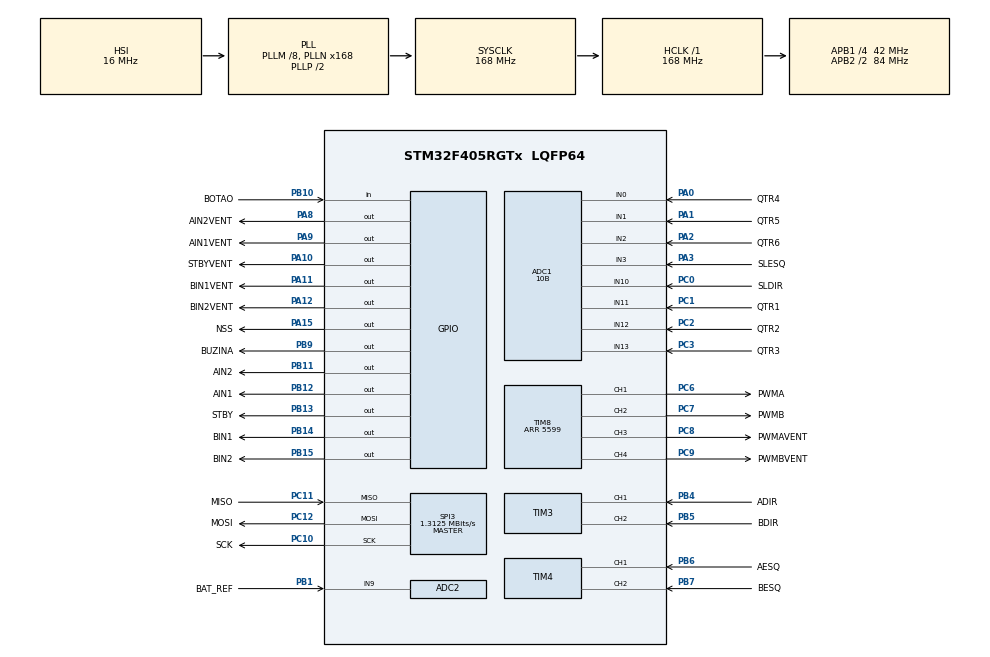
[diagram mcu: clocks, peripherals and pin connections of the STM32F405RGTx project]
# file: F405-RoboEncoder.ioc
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ADC1.Channel-0\#ChannelRegularConversion=ADC_CHANNEL_10
ADC1.Channel-1\#ChannelRegularConversion=ADC_CHANNEL_11
ADC1.Channel-2\#ChannelRegularConversion=ADC_CHANNEL_12
ADC1.Channel-3\#ChannelRegularConversion=ADC_CHANNEL_13
ADC1.Channel-4\#ChannelRegularConversion=ADC_CHANNEL_0
ADC1.Channel-5\#ChannelRegularConversion=ADC_CHANNEL_1
ADC1.Channel-6\#ChannelRegularConversion=ADC_CHANNEL_2
ADC1.Channel-7\#ChannelRegularConversion=ADC_CHANNEL_3
ADC1.ContinuousConvMode=ENABLE
ADC1.DMAContinuousRequests=ENABLE
ADC1.NbrOfConversion=8
ADC1.NbrOfConversionFlag=1
ADC1.Rank-0\#ChannelRegularConversion=1
ADC1.Rank-1\#ChannelRegularConversion=2
ADC1.Rank-2\#ChannelRegularConversion=3
ADC1.Rank-3\#ChannelRegularConversion=4
ADC1.Rank-4\#ChannelRegularConversion=5
ADC1.Rank-5\#ChannelRegularConversion=6
ADC1.Rank-6\#ChannelRegularConversion=7
ADC1.Rank-7\#ChannelRegularConversion=8
ADC1.Resolution=ADC_RESOLUTION_10B
ADC1.SamplingTime-0\#ChannelRegularConversion=ADC_SAMPLETIME_15CYCLES
ADC1.SamplingTime-1\#ChannelRegularConversion=ADC_SAMPLETIME_15CYCLES
ADC1.SamplingTime-2\#ChannelRegularConversion=ADC_SAMPLETIME_15CYCLES
ADC1.SamplingTime-3\#ChannelRegularConversion=ADC_SAMPLETIME_15CYCLES
ADC1.SamplingTime-4\#ChannelRegularConversion=ADC_SAMPLETIME_15CYCLES
ADC1.SamplingTime-5\#ChannelRegularConversion=ADC_SAMPLETIME_15CYCLES
ADC1.SamplingTime-6\#ChannelRegularConversion=ADC_SAMPLETIME_15CYCLES
ADC1.SamplingTime-7\#ChannelRegularConversion=ADC_SAMPLETIME_15CYCLES
ADC1.ScanConvMode=ENABLE
ADC1.master=1
ADC2.Channel-0\#ChannelRegularConversion=ADC_CHANNEL_9
ADC2.ContinuousConvMode=ENABLE
ADC2.NbrOfConversionFlag=1
ADC2.Rank-0\#ChannelRegularConversion=1
ADC2.Resolution=ADC_RESOLUTION_10B
ADC2.SamplingTime-0\#ChannelRegularConversion=ADC_SAMPLETIME_3CYCLES
ADC2.ScanConvMode=ENABLE
Dma.ADC1.0.Direction=DMA_PERIPH_TO_MEMORY
Dma.ADC1.0.FIFOMode=DMA_FIFOMODE_DISABLE
Dma.ADC1.0.Instance=DMA2_Stream0
Dma.ADC1.0.MemDataAlignment=DMA_MDATAALIGN_HALFWORD
Dma.ADC1.0.MemInc=DMA_MINC_ENABLE
Dma.ADC1.0.Mode=DMA_CIRCULAR
Dma.ADC1.0.PeriphDataAlignment=DMA_PDATAALIGN_HALFWORD
Dma.ADC1.0.PeriphInc=DMA_PINC_DISABLE
Dma.ADC1.0.Priority=DMA_PRIORITY_LOW
Dma.Request0=ADC1
Mcu.Family=STM32F4
Mcu.Name=STM32F405RGTx
Mcu.Package=LQFP64
NVIC.DMA2_Stream0_IRQn=true\:0\:0\:false\:false\:true\:false\:true\:true
NVIC.PriorityGroup=NVIC_PRIORITYGROUP_4
NVIC.TIM6_DAC_IRQn=true\:0\:0\:false\:false\:true\:true\:true\:true
PA0-WKUP.GPIO_Label=QTR4
PA0-WKUP.Signal=ADCx_IN0
PA1.GPIO_Label=QTR5
PA1.Signal=ADCx_IN1
PA10.GPIO_Label=STBYVENT
PA10.Signal=GPIO_Output
PA11.GPIO_Label=BIN1VENT
PA11.Signal=GPIO_Output
PA12.GPIO_Label=BIN2VENT
PA12.Signal=GPIO_Output
PA13.Mode=Serial_Wire
PA13.Signal=SYS_JTMS-SWDIO
PA14.Mode=Serial_Wire
PA14.Signal=SYS_JTCK-SWCLK
PA15.GPIO_Label=NSS
PA15.Signal=GPIO_Output
PA2.GPIO_Label=QTR6
PA2.Signal=ADCx_IN2
PA3.GPIO_Label=SLESQ
PA3.Signal=ADCx_IN3
PA8.GPIO_Label=AIN2VENT
PA8.Signal=GPIO_Output
PA9.GPIO_Label=AIN1VENT
PA9.Signal=GPIO_Output
PB1.GPIO_Label=BAT_REF
PB1.Signal=ADCx_IN9
PB10.GPIO_Label=BOTAO
PB10.Signal=GPIO_Input
PB11.GPIO_Label=AIN2
PB11.Signal=GPIO_Output
PB12.GPIO_Label=AIN1
PB12.Signal=GPIO_Output
PB13.GPIO_Label=STBY
PB13.Signal=GPIO_Output
PB14.GPIO_Label=BIN1
PB14.Signal=GPIO_Output
PB15.GPIO_Label=BIN2
PB15.Signal=GPIO_Output
PB4.GPIO_Label=ADIR
PB4.GPIO_PuPd=GPIO_PULLUP
PB4.GPIO_Speed=GPIO_SPEED_FREQ_VERY_HIGH
PB4.Signal=S_TIM3_CH1
PB5.GPIO_Label=BDIR
PB5.GPIO_PuPd=GPIO_PULLUP
PB5.GPIO_Speed=GPIO_SPEED_FREQ_VERY_HIGH
PB5.Signal=S_TIM3_CH2
PB6.GPIO_Label=AESQ
PB6.GPIO_PuPd=GPIO_PULLUP
PB6.GPIO_Speed=GPIO_SPEED_FREQ_VERY_HIGH
PB6.Signal=S_TIM4_CH1
PB7.GPIO_Label=BESQ
PB7.GPIO_PuPd=GPIO_PULLUP
PB7.GPIO_Speed=GPIO_SPEED_FREQ_VERY_HIGH
PB7.Signal=S_TIM4_CH2
PB9.GPIO_Label=BUZINA
PB9.Signal=GPIO_Output
PC0.GPIO_Label=SLDIR
PC0.Signal=ADCx_IN10
PC1.GPIO_Label=QTR1
PC1.Signal=ADCx_IN11
PC10.GPIO_Label=SCK
PC10.Mode=Full_Duplex_Master
PC10.Signal=SPI3_SCK
PC11.GPIO_Label=MISO
PC11.Mode=Full_Duplex_Master
PC11.Signal=SPI3_MISO
PC12.GPIO_Label=MOSI
PC12.Mode=Full_Duplex_Master
PC12.Signal=SPI3_MOSI
PC2.GPIO_Label=QTR2
PC2.Signal=ADCx_IN12
PC3.GPIO_Label=QTR3
PC3.Signal=ADCx_IN13
PC6.GPIO_Label=PWMA
PC6.Signal=S_TIM8_CH1
PC7.GPIO_Label=PWMB
PC7.Signal=S_TIM8_CH2
PC8.GPIO_Label=PWMAVENT
PC8.Signal=S_TIM8_CH3
PC9.GPIO_Label=PWMBVENT
PC9.Signal=S_TIM8_CH4
ProjectManager.HeapSize=0x200
ProjectManager.StackSize=0x400
ProjectManager.TargetToolchain=STM32CubeIDE
RCC.48MHZClocksFreq_Value=84000000
RCC.AHBFreq_Value=168000000
RCC.APB1CLKDivider=RCC_HCLK_DIV4
RCC.APB1Freq_Value=42000000
RCC.APB1TimFreq_Value=84000000
RCC.APB2CLKDivider=RCC_HCLK_DIV2
RCC.APB2Freq_Value=84000000
RCC.APB2TimFreq_Value=168000000
RCC.CortexFreq_Value=168000000
RCC.HCLKFreq_Value=168000000
RCC.HSE_VALUE=25000000
RCC.HSI_VALUE=16000000
RCC.LSE_VALUE=32768
RCC.PLLM=8
RCC.PLLN=168
RCC.SYSCLKFreq_VALUE=168000000
RCC.SYSCLKSource=RCC_SYSCLKSOURCE_PLLCLK
RCC.VCOOutputFreq_Value=336000000
SH.ADCx_IN0.0=ADC1_IN0,IN0
SH.ADCx_IN1.0=ADC1_IN1,IN1
SH.ADCx_IN10.0=ADC1_IN10,IN10
SH.ADCx_IN11.0=ADC1_IN11,IN11
SH.ADCx_IN12.0=ADC1_IN12,IN12
SH.ADCx_IN13.0=ADC1_IN13,IN13
SH.ADCx_IN2.0=ADC1_IN2,IN2
SH.ADCx_IN3.0=ADC1_IN3,IN3
SH.ADCx_IN9.0=ADC2_IN9,IN9
SH.S_TIM3_CH1.0=TIM3_CH1,Encoder_Interface
SH.S_TIM3_CH2.0=TIM3_CH2,Encoder_Interface
SH.S_TIM4_CH1.0=TIM4_CH1,Encoder_Interface
SH.S_TIM4_CH2.0=TIM4_CH2,Encoder_Interface
SH.S_TIM8_CH1.0=TIM8_CH1,PWM Generation1 CH1
SH.S_TIM8_CH2.0=TIM8_CH2,PWM Generation2 CH2
SH.S_TIM8_CH3.0=TIM8_CH3,PWM Generation3 CH3
SH.S_TIM8_CH4.0=TIM8_CH4,PWM Generation4 CH4
SPI3.BaudRatePrescaler=SPI_BAUDRATEPRESCALER_32
SPI3.CLKPhase=SPI_PHASE_2EDGE
SPI3.CLKPolarity=SPI_POLARITY_HIGH
SPI3.CalculateBaudRate=1.3125 MBits/s
SPI3.Direction=SPI_DIRECTION_2LINES
SPI3.Mode=SPI_MODE_MASTER
SPI3.VirtualType=VM_MASTER
TIM3.AutoReloadPreload=TIM_AUTORELOAD_PRELOAD_ENABLE
TIM3.EncoderMode=TIM_ENCODERMODE_TI12
TIM4.AutoReloadPreload=TIM_AUTORELOAD_PRELOAD_ENABLE
TIM4.EncoderMode=TIM_ENCODERMODE_TI12
TIM6.Period=9
TIM6.Prescaler=8399
TIM8.AutoReloadPreload=TIM_AUTORELOAD_PRELOAD_ENABLE
TIM8.Channel-PWM\ Generation1\ CH1=TIM_CHANNEL_1
TIM8.Channel-PWM\ Generation2\ CH2=TIM_CHANNEL_2
TIM8.Channel-PWM\ Generation3\ CH3=TIM_CHANNEL_3
TIM8.Channel-PWM\ Generation4\ CH4=TIM_CHANNEL_4
TIM8.Period=5599
VP_TIM6_VS_ClockSourceINT.Mode=Enable_Timer
VP_TIM8_VS_ClockSourceINT.Mode=Internal
board=custom

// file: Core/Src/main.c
/* USER CODE BEGIN Header */
/**
  ******************************************************************************
  * @file           : main.c
  * @brief          : Main program body
  ******************************************************************************
  * @attention
  *
  * Copyright (c) 2025 STMicroelectronics.
  * All rights reserved.
  *
  * This software is licensed under terms that can be found in the LICENSE file
  * in the root directory of this software component.
  * If no LICENSE file comes with this software, it is provided AS-IS.
  *
  ******************************************************************************
  */
/* USER CODE END Header */
#include "main.h"

/* USER CODE BEGIN Includes */
#include "stm32f4xx_hal.h"
#include <stdio.h>
#include <stdint.h>
#include <stdbool.h>
#include <stdlib.h>

#include "config_robo.h"
#include "controle_motor.h"
#include "leitor_encoder.h"
#include "sensor_linha.h"
#include "marcador_lateral.h"
#include "controlador_pid.h"
#include "controle_velocidade.h"
#include "mapa_pista.h"
#include "monitor_bateria.h"
#include "interface_usuario.h"
#include "mpu9250.h"
#include "kalman_filter.h"
#include "analise_sensores.h"
#include "analise_desempenho.h"

/* USER CODE END Includes */

ADC_HandleTypeDef hadc1;
ADC_HandleTypeDef hadc2;
DMA_HandleTypeDef hdma_adc1;

SPI_HandleTypeDef hspi3;

TIM_HandleTypeDef htim3;
TIM_HandleTypeDef htim4;
TIM_HandleTypeDef htim6;
TIM_HandleTypeDef htim8;

/* USER CODE BEGIN PV */

typedef enum {
    ESTADO_INICIO,
    ESTADO_CALIBRANDO,
    ESTADO_AGUARDANDO_MAPEAMENTO,
    ESTADO_MAPEAMENTO,
    ESTADO_AGUARDANDO_LOG,
    ESTADO_LOGANDO,
    ESTADO_AGUARDANDO_CORRIDA,
    ESTADO_CORRIDA,
	ESTADO_ACELERANDO_RETA,
	ESTADO_FRENAGEM,
	ESTADO_FORA_DA_PISTA,
    ESTADO_FINALIZADO,
	ESTADO_DESACELERANDO_FINAL,
	ESTADO_AGUARDANDO_LOG_VELOCIDADE,
	ESTADO_LOGANDO_VELOCIDADE,
    ESTADO_ERRO
} EstadoRobo;

static EstadoRobo g_estado_robo = ESTADO_INICIO;

// +++  VARIÁVEL PARA VELOCIDADE MÁXIMA +++
static float g_velocidade_maxima_registrada_mmps = 0.0f;

static int32_t g_dist_entrada_segmento_pulsos = 0;
static uint8_t g_fim_corrida = 0;
static uint8_t g_fim_mapeamento = 0;

volatile bool g_flag_loop_1ms = false;
volatile bool g_flag_loop_10ms = false;
volatile bool g_flag_loop_4ms = false;
static volatile int g_contador_loop_mpu = 0;
static volatile int g_contador_loop_lento = 0;
static volatile int g_contador_frenagem_ms = 0;
static volatile bool g_frenagem_realizada_no_segmento = false;
long range_posicao_sensor = SENSOR_POSICAO_MAX - SENSOR_POSICAO_MIN;
long range_posicao_interpolada = POSICAO_ENTRADA_MAX - POSICAO_ENTRADA_MIN;

/* USER CODE END PV */

void SystemClock_Config(void);
static void MX_GPIO_Init(void);
static void MX_DMA_Init(void);
static void MX_ADC1_Init(void);
static void MX_ADC2_Init(void);
static void MX_TIM8_Init(void);
static void MX_TIM6_Init(void);
static void MX_TIM3_Init(void);
static void MX_TIM4_Init(void);
static void MX_SPI3_Init(void);
/* USER CODE BEGIN PFP */

void executar_loop_rapido(int pos_mapeada);
void executar_loop_lento(void);
/* USER CODE END PFP */

int main(void)
{

  /* MCU Configuration--------------------------------------------------------*/

  /* Reset of all peripherals, Initializes the Flash interface and the Systick. */
  HAL_Init();

  /* Configure the system clock */
  SystemClock_Config();

  /* Initialize all configured peripherals */
  MX_GPIO_Init();
  MX_DMA_Init();
  MX_ADC1_Init();
  MX_ADC2_Init();
  MX_TIM8_Init();
  MX_TIM6_Init();
  MX_TIM3_Init();
  MX_TIM4_Init();
  MX_SPI3_Init();
  /* USER CODE BEGIN 2 */

    iu_inicializar();
    motor_inicializar(&htim8);
    encoder_inicializar(&htim4, &htim3);
    velocidade_inicializar();
    sensor_linha_inicializar(&hadc1);
    marcador_lateral_inicializar(sensor_linha_obter_buffer_dma());
    pid_inicializar();
    mapa_inicializar();
    bateria_inicializar(&hadc2);

    motor_parar(true);
    HAL_TIM_Base_Start_IT(&htim6);

    kalman_inicializar(INTERVALO_LOOP_MPU_S);

	if (mpu9250_inicializar(&hspi3) != MPU9250_OK) {
		printf("ERRO FATAL: Falha ao inicializar MPU9250!\r\n");
		g_estado_robo = ESTADO_ERRO;
	} else {
		printf("MPU9250 inicializado com sucesso!\r\n");
		// Rotina opcional para calcular a variância dos sensores
		if (CALCULAR_VARIANCIA_GYRO_ACELEROMETRO) {
			printf("Pressione o botao para iniciar a analise de variancia.\r\n");
			iu_aguardar_botao();
			analisar_variancia_sensores();
			iu_bip_bloqueante(100);
		}
	}
  /* USER CODE END 2 */

  /* Infinite loop */
  while (1){

    /* USER CODE BEGIN 3 */

//	  bool esta_na_linha = sensor_linha_esta_na_linha();
//	  int pos_linha = sensor_linha_ler_posicao();
//	  printf("posicao: %d\n", pos_linha);
//	  printf("esta na linha: %s\n", esta_na_linha ? "true" : "false");//

	  // --- LOOP RÁPIDO (1ms) ---
	      if (g_flag_loop_1ms) {
	        g_flag_loop_1ms = false;

	        encoder_atualizar_posicoes(); // Acumula posição total
	        velocidade_atualizar();       // Calcula velocidade instantânea
	        analise_desempenho_atualizar();

	          if (g_estado_robo == ESTADO_MAPEAMENTO ||
				  g_estado_robo == ESTADO_CORRIDA ||
				  g_estado_robo == ESTADO_ACELERANDO_RETA ||
				  g_estado_robo == ESTADO_FRENAGEM ||
				  g_estado_robo == ESTADO_DESACELERANDO_FINAL) {

				int pos_bruta = sensor_linha_ler_posicao();
				//			printf("posicao bruta: %d\n", pos_bruta);
				int pos_mapeada = (int)(((long)(pos_bruta - SENSOR_POSICAO_MIN) * range_posicao_interpolada) / range_posicao_sensor + POSICAO_ENTRADA_MIN);
				//			printf("posicao mapeada: %d\n", pos_mapeada);
				//			HAL_Delay(200);

				//Verifica se saiu forda da pista
				if (sensor_linha_is_robo_fora_da_pista(pos_mapeada)) {
				 // Se saiu, muda o estado e para os motores.
				 // Nenhuma outra ação de controle de movimento será executada neste ciclo.
				 g_estado_robo = ESTADO_FORA_DA_PISTA;
				 motor_parar(true); // Este comando agora não será sobreposto
				} else {
				 // Se NÃO saiu, executa a lógica normal de controle de velocidade e direção.
				 executar_loop_rapido(pos_mapeada);
				}
	          }
	      }

	      // --- LOOP DA MPU E KALMAN (4ms) ---
		  if (g_flag_loop_4ms) {
			  g_flag_loop_4ms = false;
			  // Tarefas de média prioridade executadas a 250 Hz
			  mpu9250_ler_sensores();
			  // Futuramente, a chamada ao kalman_atualizar virá aqui
		  }

		   //--- LOOP LENTO (10ms) ---
		  if (g_flag_loop_10ms) {
			g_flag_loop_10ms = false;
			bateria_atualizar();
			iu_atualizar(); // Atualiza buzina

			// --- Log para depuração dos sensores MPU ---
			float angulo_acel = mpu9250_obter_angulo_acelerometro();
			float vel_angular_giro = mpu9250_obter_velocidade_angular_y();

			// Formato: ANGULO_ACELEROMETRO;VELOCIDADE_ANGULAR_GIRO
			printf("RAW_DATA;%.2f;%.2f\r\n", angulo_acel, vel_angular_giro);

			if (g_estado_robo == ESTADO_MAPEAMENTO ||
			  g_estado_robo == ESTADO_CORRIDA ||
			  g_estado_robo == ESTADO_ACELERANDO_RETA) {

			  executar_loop_lento(); // Verifica marcadores de pista
			}

			// Grava o log contínuo da pista a 100 Hz durante o mapeamento
			if (g_estado_robo == ESTADO_MAPEAMENTO) {
			 mapa_gravar_passo_log();
			}
		  }

		  // Máquina de estados principal
	  	  switch (g_estado_robo) {
	  		  case ESTADO_INICIO:
	  			  printf("Pressione o botao para calibrar.\r\n");
	  			  iu_aguardar_botao();
	  			  iu_bip_bloqueante(100);
	  			  g_estado_robo = ESTADO_CALIBRANDO;
	  			  break;

	  		  case ESTADO_CALIBRANDO:
	  			  marcador_lateral_resetar_calibracao();
	  			  sensor_linha_calibrar();
	  			  marcador_lateral_finalizar_calibracao();
	  			  g_estado_robo = ESTADO_AGUARDANDO_MAPEAMENTO;
	  			  break;

	  		  case ESTADO_AGUARDANDO_MAPEAMENTO:
	  			  printf("Pressione para mapear a pista.\r\n");
	  			  iu_aguardar_botao();
	  			  iu_buzina_temporizada(150);
	  			  HAL_Delay(3000);
	  			  motor_parar(false);
	  			  encoder_resetar_posicoes();
	  			  mapa_iniciar_log_pista();
	  			  g_fim_mapeamento = 0;
	  			  g_estado_robo = ESTADO_MAPEAMENTO;
	  			  break;

	  		  case ESTADO_MAPEAMENTO:
	  			    if (g_fim_mapeamento >= 2) {
	  			        motor_parar(true);
	  			        mapa_parar_log_pista();
	  			        printf("Mapeamento concluido.\r\n");
	  			        iu_buzina_temporizada(300);
	  			        g_estado_robo = ESTADO_AGUARDANDO_LOG;
	  			    }
	  			  break;

	  		  case ESTADO_AGUARDANDO_LOG:
	  			  printf("Pressione para imprimir o mapa via SWO.\r\n");
	  			  iu_aguardar_botao();
	  			  g_estado_robo = ESTADO_LOGANDO;
	  			  break;

	  		  case ESTADO_LOGANDO:
				// Primeiro, gera a tabela para que os dados possam ser usados no log
				mapa_gerar_tabela_velocidade();
				// Agora, imprime o log unificado que contém os novos dados
				mapa_logar_pista_swo();
				iu_buzina_temporizada(500);
				g_estado_robo = ESTADO_AGUARDANDO_CORRIDA;
				break;

	  		  case ESTADO_AGUARDANDO_CORRIDA:
	  			  printf("Pressione para iniciar a corrida.\r\n");
	  			  iu_aguardar_botao();
	  			  iu_buzina_temporizada(150);
	  			  HAL_Delay(1000);
	  			  mapa_resetar_para_corrida();      // Zera contadores de distância dos encoders.
				  velocidade_inicializar();         // Zera estado da velocidade e reseta o medidor de tempo.
				  analise_desempenho_inicializar();
	  			  motor_parar(false);

	  			  // +++ RESETAR A VELOCIDADE MÁXIMA ANTES DA CORRIDA +++
	  			  g_velocidade_maxima_registrada_mmps = 0.0f;
	  			  g_dist_entrada_segmento_pulsos = 0;
	  			  g_fim_corrida = 0;
	  			  if (mapa_segmento_atual_e_reta_longa()) {
					  g_estado_robo = ESTADO_ACELERANDO_RETA;
				  } else {
					  g_estado_robo = ESTADO_CORRIDA; // Caso contrário, começa em modo Corrida
				  }
	  			  break;

	  		  case ESTADO_CORRIDA:
	  			  break;
	  		  case ESTADO_ACELERANDO_RETA:
	  			  break;
	  		  case ESTADO_FRENAGEM:
	  			  break;

	  		  case ESTADO_FORA_DA_PISTA:
					motor_parar(true); // Mantém os motores parados
					printf("ROBO PERDEU A LINHA!\r\n");
					iu_buzina_temporizada(200);
					iu_atualizar();
					iu_aguardar_botao();
					HAL_Delay(400);
					//Reseta a um estado inicial seguro
					g_estado_robo = ESTADO_INICIO;

			  break;
	  		  case ESTADO_FINALIZADO:
				   g_estado_robo = ESTADO_DESACELERANDO_FINAL;
				  break;

	  		  case ESTADO_DESACELERANDO_FINAL:
				// A lógica de controle de movimento para este estado
				// será tratada no loop rápido.
				// Aqui, apenas aguardamos a transição para o próximo estado,
				// que será feita pelo loop rápido quando a velocidade for zero.
				break;

				  // +++ LÓGICA PARA OS NOVOS ESTADOS +++
			  case ESTADO_AGUARDANDO_LOG_VELOCIDADE:
				  printf("Pressione para ver a velocidade maxima registrada.\r\n");
				  iu_aguardar_botao();
				  g_estado_robo = ESTADO_LOGANDO_VELOCIDADE;
				  break;

			  case ESTADO_LOGANDO_VELOCIDADE:
				  // Imprime o valor da velocidade máxima (convertendo para int para simplicidade)
				  printf("=============================================\r\n");
				  printf("Velocidade Maxima Atingida: %d mm/s\r\n", (int)g_velocidade_maxima_registrada_mmps);
				  printf("=============================================\r\n");
				  iu_buzina_temporizada(1000);
				  printf("Aceleracao Maxima Registrada: %.2f mm/s^2\r\n", analise_desempenho_obter_max_aceleracao());
				  printf("Desaceleracao Maxima Registrada: %.2f mm/s^2\r\n", analise_desempenho_obter_max_desaceleracao());
				  // Após logar, pode ir para um estado final ou reiniciar
				  printf("Pressione o botao para reiniciar.\r\n");
				  iu_aguardar_botao();
				  g_estado_robo = ESTADO_INICIO; // Ou outro estado desejado
				  break;

	  		  case ESTADO_ERRO:
	  			   motor_parar(true);
	  			   printf("ERRO! Sistema parado.\n");
	  			   while(1) {
	  				   iu_buzina_temporizada(100);
	                     iu_atualizar();
	  				   HAL_Delay(500);
	  			   }
	  			  break;
	  	    }
	      }

  /* USER CODE END 3 */
}

void SystemClock_Config(void)
{
  RCC_OscInitTypeDef RCC_OscInitStruct = {0};
  RCC_ClkInitTypeDef RCC_ClkInitStruct = {0};

  /** Configure the main internal regulator output voltage
  */
  __HAL_RCC_PWR_CLK_ENABLE();
  __HAL_PWR_VOLTAGESCALING_CONFIG(PWR_REGULATOR_VOLTAGE_SCALE1);

  /** Initializes the RCC Oscillators according to the specified parameters
  * in the RCC_OscInitTypeDef structure.
  */
  RCC_OscInitStruct.OscillatorType = RCC_OSCILLATORTYPE_HSI;
  RCC_OscInitStruct.HSIState = RCC_HSI_ON;
  RCC_OscInitStruct.HSICalibrationValue = RCC_HSICALIBRATION_DEFAULT;
  RCC_OscInitStruct.PLL.PLLState = RCC_PLL_ON;
  RCC_OscInitStruct.PLL.PLLSource = RCC_PLLSOURCE_HSI;
  RCC_OscInitStruct.PLL.PLLM = 8;
  RCC_OscInitStruct.PLL.PLLN = 168;
  RCC_OscInitStruct.PLL.PLLP = RCC_PLLP_DIV2;
  RCC_OscInitStruct.PLL.PLLQ = 4;
  if (HAL_RCC_OscConfig(&RCC_OscInitStruct) != HAL_OK)
  {
    Error_Handler();
  }

  /** Initializes the CPU, AHB and APB buses clocks
  */
  RCC_ClkInitStruct.ClockType = RCC_CLOCKTYPE_HCLK|RCC_CLOCKTYPE_SYSCLK
                              |RCC_CLOCKTYPE_PCLK1|RCC_CLOCKTYPE_PCLK2;
  RCC_ClkInitStruct.SYSCLKSource = RCC_SYSCLKSOURCE_PLLCLK;
  RCC_ClkInitStruct.AHBCLKDivider = RCC_SYSCLK_DIV1;
  RCC_ClkInitStruct.APB1CLKDivider = RCC_HCLK_DIV4;
  RCC_ClkInitStruct.APB2CLKDivider = RCC_HCLK_DIV2;

  if (HAL_RCC_ClockConfig(&RCC_ClkInitStruct, FLASH_LATENCY_5) != HAL_OK)
  {
    Error_Handler();
  }
}

static void MX_ADC1_Init(void)
{

  ADC_ChannelConfTypeDef sConfig = {0};

  /** Configure the global features of the ADC (Clock, Resolution, Data Alignment and number of conversion)
  */
  hadc1.Instance = ADC1;
  hadc1.Init.ClockPrescaler = ADC_CLOCK_SYNC_PCLK_DIV4;
  hadc1.Init.Resolution = ADC_RESOLUTION_10B;
  hadc1.Init.ScanConvMode = ENABLE;
  hadc1.Init.ContinuousConvMode = ENABLE;
  hadc1.Init.DiscontinuousConvMode = DISABLE;
  hadc1.Init.ExternalTrigConvEdge = ADC_EXTERNALTRIGCONVEDGE_NONE;
  hadc1.Init.ExternalTrigConv = ADC_SOFTWARE_START;
  hadc1.Init.DataAlign = ADC_DATAALIGN_RIGHT;
  hadc1.Init.NbrOfConversion = 8;
  hadc1.Init.DMAContinuousRequests = ENABLE;
  hadc1.Init.EOCSelection = ADC_EOC_SINGLE_CONV;
  if (HAL_ADC_Init(&hadc1) != HAL_OK)
  {
    Error_Handler();
  }

  /** Configure for the selected ADC regular channel its corresponding rank in the sequencer and its sample time.
  */
  sConfig.Channel = ADC_CHANNEL_10;
  sConfig.Rank = 1;
  sConfig.SamplingTime = ADC_SAMPLETIME_15CYCLES;
  if (HAL_ADC_ConfigChannel(&hadc1, &sConfig) != HAL_OK)
  {
    Error_Handler();
  }

  /** Configure for the selected ADC regular channel its corresponding rank in the sequencer and its sample time.
  */
  sConfig.Channel = ADC_CHANNEL_11;
  sConfig.Rank = 2;
  if (HAL_ADC_ConfigChannel(&hadc1, &sConfig) != HAL_OK)
  {
    Error_Handler();
  }

  /** Configure for the selected ADC regular channel its corresponding rank in the sequencer and its sample time.
  */
  sConfig.Channel = ADC_CHANNEL_12;
  sConfig.Rank = 3;
  if (HAL_ADC_ConfigChannel(&hadc1, &sConfig) != HAL_OK)
  {
    Error_Handler();
  }

  /** Configure for the selected ADC regular channel its corresponding rank in the sequencer and its sample time.
  */
  sConfig.Channel = ADC_CHANNEL_13;
  sConfig.Rank = 4;
  if (HAL_ADC_ConfigChannel(&hadc1, &sConfig) != HAL_OK)
  {
    Error_Handler();
  }

  /** Configure for the selected ADC regular channel its corresponding rank in the sequencer and its sample time.
  */
  sConfig.Channel = ADC_CHANNEL_0;
  sConfig.Rank = 5;
  if (HAL_ADC_ConfigChannel(&hadc1, &sConfig) != HAL_OK)
  {
    Error_Handler();
  }

  /** Configure for the selected ADC regular channel its corresponding rank in the sequencer and its sample time.
  */
  sConfig.Channel = ADC_CHANNEL_1;
  sConfig.Rank = 6;
  if (HAL_ADC_ConfigChannel(&hadc1, &sConfig) != HAL_OK)
  {
    Error_Handler();
  }

  /** Configure for the selected ADC regular channel its corresponding rank in the sequencer and its sample time.
  */
  sConfig.Channel = ADC_CHANNEL_2;
  sConfig.Rank = 7;
  if (HAL_ADC_ConfigChannel(&hadc1, &sConfig) != HAL_OK)
  {
    Error_Handler();
  }

  /** Configure for the selected ADC regular channel its corresponding rank in the sequencer and its sample time.
  */
  sConfig.Channel = ADC_CHANNEL_3;
  sConfig.Rank = 8;
  if (HAL_ADC_ConfigChannel(&hadc1, &sConfig) != HAL_OK)
  {
    Error_Handler();
  }

}

static void MX_ADC2_Init(void)
{

  ADC_ChannelConfTypeDef sConfig = {0};

  /** Configure the global features of the ADC (Clock, Resolution, Data Alignment and number of conversion)
  */
  hadc2.Instance = ADC2;
  hadc2.Init.ClockPrescaler = ADC_CLOCK_SYNC_PCLK_DIV4;
  hadc2.Init.Resolution = ADC_RESOLUTION_10B;
  hadc2.Init.ScanConvMode = ENABLE;
  hadc2.Init.ContinuousConvMode = ENABLE;
  hadc2.Init.DiscontinuousConvMode = DISABLE;
  hadc2.Init.ExternalTrigConvEdge = ADC_EXTERNALTRIGCONVEDGE_NONE;
  hadc2.Init.ExternalTrigConv = ADC_SOFTWARE_START;
  hadc2.Init.DataAlign = ADC_DATAALIGN_RIGHT;
  hadc2.Init.NbrOfConversion = 1;
  hadc2.Init.DMAContinuousRequests = DISABLE;
  hadc2.Init.EOCSelection = ADC_EOC_SINGLE_CONV;
  if (HAL_ADC_Init(&hadc2) != HAL_OK)
  {
    Error_Handler();
  }

  /** Configure for the selected ADC regular channel its corresponding rank in the sequencer and its sample time.
  */
  sConfig.Channel = ADC_CHANNEL_9;
  sConfig.Rank = 1;
  sConfig.SamplingTime = ADC_SAMPLETIME_3CYCLES;
  if (HAL_ADC_ConfigChannel(&hadc2, &sConfig) != HAL_OK)
  {
    Error_Handler();
  }

}

static void MX_SPI3_Init(void)
{

  /* SPI3 parameter configuration*/
  hspi3.Instance = SPI3;
  hspi3.Init.Mode = SPI_MODE_MASTER;
  hspi3.Init.Direction = SPI_DIRECTION_2LINES;
  hspi3.Init.DataSize = SPI_DATASIZE_8BIT;
  hspi3.Init.CLKPolarity = SPI_POLARITY_HIGH;
  hspi3.Init.CLKPhase = SPI_PHASE_2EDGE;
  hspi3.Init.NSS = SPI_NSS_SOFT;
  hspi3.Init.BaudRatePrescaler = SPI_BAUDRATEPRESCALER_32;
  hspi3.Init.FirstBit = SPI_FIRSTBIT_MSB;
  hspi3.Init.TIMode = SPI_TIMODE_DISABLE;
  hspi3.Init.CRCCalculation = SPI_CRCCALCULATION_DISABLE;
  hspi3.Init.CRCPolynomial = 10;
  if (HAL_SPI_Init(&hspi3) != HAL_OK)
  {
    Error_Handler();
  }

}

static void MX_TIM3_Init(void)
{

  TIM_Encoder_InitTypeDef sConfig = {0};
  TIM_MasterConfigTypeDef sMasterConfig = {0};

  htim3.Instance = TIM3;
  htim3.Init.Prescaler = 0;
  htim3.Init.CounterMode = TIM_COUNTERMODE_UP;
  htim3.Init.Period = 65535;
  htim3.Init.ClockDivision = TIM_CLOCKDIVISION_DIV1;
  htim3.Init.AutoReloadPreload = TIM_AUTORELOAD_PRELOAD_ENABLE;
  sConfig.EncoderMode = TIM_ENCODERMODE_TI12;
  sConfig.IC1Polarity = TIM_ICPOLARITY_RISING;
  sConfig.IC1Selection = TIM_ICSELECTION_DIRECTTI;
  sConfig.IC1Prescaler = TIM_ICPSC_DIV1;
  sConfig.IC1Filter = 0;
  sConfig.IC2Polarity = TIM_ICPOLARITY_RISING;
  sConfig.IC2Selection = TIM_ICSELECTION_DIRECTTI;
  sConfig.IC2Prescaler = TIM_ICPSC_DIV1;
  sConfig.IC2Filter = 0;
  if (HAL_TIM_Encoder_Init(&htim3, &sConfig) != HAL_OK)
  {
    Error_Handler();
  }
  sMasterConfig.MasterOutputTrigger = TIM_TRGO_RESET;
  sMasterConfig.MasterSlaveMode = TIM_MASTERSLAVEMODE_DISABLE;
  if (HAL_TIMEx_MasterConfigSynchronization(&htim3, &sMasterConfig) != HAL_OK)
  {
    Error_Handler();
  }

}

static void MX_TIM4_Init(void)
{

  TIM_Encoder_InitTypeDef sConfig = {0};
  TIM_MasterConfigTypeDef sMasterConfig = {0};

  htim4.Instance = TIM4;
  htim4.Init.Prescaler = 0;
  htim4.Init.CounterMode = TIM_COUNTERMODE_UP;
  htim4.Init.Period = 65535;
  htim4.Init.ClockDivision = TIM_CLOCKDIVISION_DIV1;
  htim4.Init.AutoReloadPreload = TIM_AUTORELOAD_PRELOAD_ENABLE;
  sConfig.EncoderMode = TIM_ENCODERMODE_TI12;
  sConfig.IC1Polarity = TIM_ICPOLARITY_RISING;
  sConfig.IC1Selection = TIM_ICSELECTION_DIRECTTI;
  sConfig.IC1Prescaler = TIM_ICPSC_DIV1;
  sConfig.IC1Filter = 0;
  sConfig.IC2Polarity = TIM_ICPOLARITY_RISING;
  sConfig.IC2Selection = TIM_ICSELECTION_DIRECTTI;
  sConfig.IC2Prescaler = TIM_ICPSC_DIV1;
  sConfig.IC2Filter = 0;
  if (HAL_TIM_Encoder_Init(&htim4, &sConfig) != HAL_OK)
  {
    Error_Handler();
  }
  sMasterConfig.MasterOutputTrigger = TIM_TRGO_RESET;
  sMasterConfig.MasterSlaveMode = TIM_MASTERSLAVEMODE_DISABLE;
  if (HAL_TIMEx_MasterConfigSynchronization(&htim4, &sMasterConfig) != HAL_OK)
  {
    Error_Handler();
  }

}

static void MX_TIM6_Init(void)
{

  TIM_MasterConfigTypeDef sMasterConfig = {0};

  htim6.Instance = TIM6;
  htim6.Init.Prescaler = 8399;
  htim6.Init.CounterMode = TIM_COUNTERMODE_UP;
  htim6.Init.Period = 9;
  htim6.Init.AutoReloadPreload = TIM_AUTORELOAD_PRELOAD_DISABLE;
  if (HAL_TIM_Base_Init(&htim6) != HAL_OK)
  {
    Error_Handler();
  }
  sMasterConfig.MasterOutputTrigger = TIM_TRGO_RESET;
  sMasterConfig.MasterSlaveMode = TIM_MASTERSLAVEMODE_DISABLE;
  if (HAL_TIMEx_MasterConfigSynchronization(&htim6, &sMasterConfig) != HAL_OK)
  {
    Error_Handler();
  }

}

static void MX_TIM8_Init(void)
{

  TIM_ClockConfigTypeDef sClockSourceConfig = {0};
  TIM_MasterConfigTypeDef sMasterConfig = {0};
  TIM_OC_InitTypeDef sConfigOC = {0};
  TIM_BreakDeadTimeConfigTypeDef sBreakDeadTimeConfig = {0};

  htim8.Instance = TIM8;
  htim8.Init.Prescaler = 0;
  htim8.Init.CounterMode = TIM_COUNTERMODE_UP;
  htim8.Init.Period = PERIODO_PWM_MOTOR;
  htim8.Init.ClockDivision = TIM_CLOCKDIVISION_DIV1;
  htim8.Init.RepetitionCounter = 0;
  htim8.Init.AutoReloadPreload = TIM_AUTORELOAD_PRELOAD_ENABLE;
  if (HAL_TIM_Base_Init(&htim8) != HAL_OK)
  {
    Error_Handler();
  }
  sClockSourceConfig.ClockSource = TIM_CLOCKSOURCE_INTERNAL;
  if (HAL_TIM_ConfigClockSource(&htim8, &sClockSourceConfig) != HAL_OK)
  {
    Error_Handler();
  }
  if (HAL_TIM_PWM_Init(&htim8) != HAL_OK)
  {
    Error_Handler();
  }
  sMasterConfig.MasterOutputTrigger = TIM_TRGO_RESET;
  sMasterConfig.MasterSlaveMode = TIM_MASTERSLAVEMODE_DISABLE;
  if (HAL_TIMEx_MasterConfigSynchronization(&htim8, &sMasterConfig) != HAL_OK)
  {
    Error_Handler();
  }
  sConfigOC.OCMode = TIM_OCMODE_PWM1;
  sConfigOC.Pulse = 0;
  sConfigOC.OCPolarity = TIM_OCPOLARITY_HIGH;
  sConfigOC.OCNPolarity = TIM_OCNPOLARITY_HIGH;
  sConfigOC.OCFastMode = TIM_OCFAST_DISABLE;
  sConfigOC.OCIdleState = TIM_OCIDLESTATE_RESET;
  sConfigOC.OCNIdleState = TIM_OCNIDLESTATE_RESET;
  if (HAL_TIM_PWM_ConfigChannel(&htim8, &sConfigOC, TIM_CHANNEL_1) != HAL_OK)
  {
    Error_Handler();
  }
  if (HAL_TIM_PWM_ConfigChannel(&htim8, &sConfigOC, TIM_CHANNEL_2) != HAL_OK)
  {
    Error_Handler();
  }
  if (HAL_TIM_PWM_ConfigChannel(&htim8, &sConfigOC, TIM_CHANNEL_3) != HAL_OK)
  {
    Error_Handler();
  }
  if (HAL_TIM_PWM_ConfigChannel(&htim8, &sConfigOC, TIM_CHANNEL_4) != HAL_OK)
  {
    Error_Handler();
  }
  sBreakDeadTimeConfig.OffStateRunMode = TIM_OSSR_DISABLE;
  sBreakDeadTimeConfig.OffStateIDLEMode = TIM_OSSI_DISABLE;
  sBreakDeadTimeConfig.LockLevel = TIM_LOCKLEVEL_OFF;
  sBreakDeadTimeConfig.DeadTime = 0;
  sBreakDeadTimeConfig.BreakState = TIM_BREAK_DISABLE;
  sBreakDeadTimeConfig.BreakPolarity = TIM_BREAKPOLARITY_HIGH;
  sBreakDeadTimeConfig.AutomaticOutput = TIM_AUTOMATICOUTPUT_DISABLE;
  if (HAL_TIMEx_ConfigBreakDeadTime(&htim8, &sBreakDeadTimeConfig) != HAL_OK)
  {
    Error_Handler();
  }
  HAL_TIM_MspPostInit(&htim8);

}

static void MX_DMA_Init(void)
{

  /* DMA controller clock enable */
  __HAL_RCC_DMA2_CLK_ENABLE();

  /* DMA interrupt init */
  /* DMA2_Stream0_IRQn interrupt configuration */
  HAL_NVIC_SetPriority(DMA2_Stream0_IRQn, 0, 0);
  HAL_NVIC_EnableIRQ(DMA2_Stream0_IRQn);

}

static void MX_GPIO_Init(void)
{
  GPIO_InitTypeDef GPIO_InitStruct = {0};

  /* GPIO Ports Clock Enable */
  __HAL_RCC_GPIOC_CLK_ENABLE();
  __HAL_RCC_GPIOA_CLK_ENABLE();
  __HAL_RCC_GPIOB_CLK_ENABLE();

  /*Configure GPIO pin Output Level */
  HAL_GPIO_WritePin(GPIOB, AIN2_Pin|AIN1_Pin|STBY_Pin|BIN1_Pin
                          |BIN2_Pin|BUZINA_Pin, GPIO_PIN_RESET);

  /*Configure GPIO pin Output Level */
  HAL_GPIO_WritePin(GPIOA, AIN2VENT_Pin|AIN1VENT_Pin|STBYVENT_Pin|BIN1VENT_Pin
                          |BIN2VENT_Pin|NSS_Pin, GPIO_PIN_RESET);

  /*Configure GPIO pin : BOTAO_Pin */
  GPIO_InitStruct.Pin = BOTAO_Pin;
  GPIO_InitStruct.Mode = GPIO_MODE_INPUT;
  GPIO_InitStruct.Pull = GPIO_NOPULL;
  HAL_GPIO_Init(BOTAO_GPIO_Port, &GPIO_InitStruct);

  /*Configure GPIO pins : AIN2_Pin AIN1_Pin STBY_Pin BIN1_Pin
                           BIN2_Pin BUZINA_Pin */
  GPIO_InitStruct.Pin = AIN2_Pin|AIN1_Pin|STBY_Pin|BIN1_Pin
                          |BIN2_Pin|BUZINA_Pin;
  GPIO_InitStruct.Mode = GPIO_MODE_OUTPUT_PP;
  GPIO_InitStruct.Pull = GPIO_NOPULL;
  GPIO_InitStruct.Speed = GPIO_SPEED_FREQ_LOW;
  HAL_GPIO_Init(GPIOB, &GPIO_InitStruct);

  /*Configure GPIO pins : AIN2VENT_Pin AIN1VENT_Pin STBYVENT_Pin BIN1VENT_Pin
                           BIN2VENT_Pin NSS_Pin */
  GPIO_InitStruct.Pin = AIN2VENT_Pin|AIN1VENT_Pin|STBYVENT_Pin|BIN1VENT_Pin
                          |BIN2VENT_Pin|NSS_Pin;
  GPIO_InitStruct.Mode = GPIO_MODE_OUTPUT_PP;
  GPIO_InitStruct.Pull = GPIO_NOPULL;
  GPIO_InitStruct.Speed = GPIO_SPEED_FREQ_LOW;
  HAL_GPIO_Init(GPIOA, &GPIO_InitStruct);

}

/* USER CODE BEGIN 4 */

void executar_loop_rapido(int pos_mapeada) {

	// +++ REGISTRO DA VELOCIDADE MÁXIMA +++
	// Apenas registra quando estamos no modo de aceleração em reta
	if (g_estado_robo == ESTADO_ACELERANDO_RETA) {
		float velocidade_atual_mmps = velocidade_obter_media_mmps();
		if (velocidade_atual_mmps > g_velocidade_maxima_registrada_mmps) {
			g_velocidade_maxima_registrada_mmps = velocidade_atual_mmps;
		}
	}

    int correcao_direcao  = 0;
    float velocidade_alvo_mmps = 0;

    // ESTADO DE MAPEAMENTO
    if (g_estado_robo ==  ESTADO_MAPEAMENTO ) {
    	velocidade_alvo_mmps  = VELOCIDADE_MAPEAMENTO_MMPS;
    	correcao_direcao  = pid_calcular_correcao(pos_mapeada);
    }

    // ESTADO DE CORRIDA
	else if (g_estado_robo == ESTADO_CORRIDA) {
		velocidade_alvo_mmps  = VELOCIDADE_CORRIDA_MMPS;
		correcao_direcao = pid_calcular_correcao(pos_mapeada);
	}

    // ESTADO DE ACELERAÇÃO EM RETA
	else if (g_estado_robo == ESTADO_ACELERANDO_RETA) {
		float velocidade_atual_mmps = velocidade_obter_media_mmps();
		if (velocidade_atual_mmps > g_velocidade_maxima_registrada_mmps) {
			g_velocidade_maxima_registrada_mmps = velocidade_atual_mmps;
		}

		// Define a potência alvo para máxima de reta
		velocidade_alvo_mmps  = VELOCIDADE_RETA_MMPS;
		// Usa o PID específico para retas
		correcao_direcao = pid_calcular_correcao_customizada(pos_mapeada, PID_KP_RETA, PID_KD_RETA);

		// Calcula a distância percorrida no segmento atual
		int32_t dist_total_segmento_pulsos = mapa_obter_distancia_pulsos_segmento_atual();
		int32_t limiar_aceleracao_pulsos = (dist_total_segmento_pulsos * PORCENTAGEM_PULSOS_EM_VRETA) / 100;
		int32_t dist_percorrida_no_segmento_pulsos = ((encoder_obter_posicao_esquerda() + encoder_obter_posicao_direita()) / 2) - g_dist_entrada_segmento_pulsos;

		// Verifica se já percorreu a distância de aceleração
		if (dist_percorrida_no_segmento_pulsos >= limiar_aceleracao_pulsos) {
			 // Distância percorrida, hora de frear.
			 if (!g_frenagem_realizada_no_segmento) {
				 g_frenagem_realizada_no_segmento = true; // Marca que a frenagem foi feita
				 g_estado_robo = ESTADO_FRENAGEM;
				 g_contador_frenagem_ms = TEMPO_FRENAGEM_MS; // Define o tempo
				 motor_frear();
				 return; // Sai do loop para se dedicar à frenagem
			 }
		}
		// Se ainda não atingiu o limiar, continua acelerando (a lógica de potência abaixo cuidará disso)
	}

	// ESTADO DE FRENAGEM: Lógica para controlar a duração da frenagem
	else if (g_estado_robo == ESTADO_FRENAGEM) {
	   motor_frear(); // Mantém os freios acionados
			  if (g_contador_frenagem_ms <= 0) {
				  // Tempo de frenagem acabou, volta para o estado de corrida normal
				  g_estado_robo = ESTADO_CORRIDA;
			  } else {
				  // Se ainda está freando, não faz mais nada neste ciclo
				  return;
			  }
	}
    // +++ LÓGICA PARA O NOVO ESTADO DE DESACELERAÇÃO FINAL +++
	else if (g_estado_robo == ESTADO_DESACELERANDO_FINAL) {
	        // 1. Define o alvo de velocidade como ZERO.
	        velocidade_alvo_mmps = 0.0f;

	        // 2. Ignora a correção de direção para parar reto.
	        correcao_direcao = 0;

	        // 3. Verifica se o robô já está praticamente parado.
	        if (velocidade_obter_media_mmps() < 5.0f) {
	            motor_parar(true); // Desliga os motores completamente
	            iu_buzina_temporizada(1000); // Emite o som de finalização

	            // Transiciona para o próximo estado
	            g_estado_robo = ESTADO_AGUARDANDO_LOG_VELOCIDADE;

	            // Importante: retorna para não aplicar mais potência neste ciclo.
	            return;
	        }
	    }

    // --- NOVO Controle de Potência (Malha Fechada) ---
    if (g_estado_robo != ESTADO_FRENAGEM) {
    	// 1. Calcula a potência base necessária para atingir a velocidade alvo
		int potencia_base = velocidade_controlar_potencia(velocidade_alvo_mmps);

        motor_definir_potencia(potencia_base - correcao_direcao, potencia_base + correcao_direcao);
    }
}

// Loop de 10ms
void executar_loop_lento(void) {
    // Contém a verificação de marcadores e outras tarefas não críticas
    TipoMarcador marcador = marcador_lateral_verificar();
    if (marcador == MARCADOR_NENHUM) {
        return;
    }

    // A lógica de Mapeamento
    if (g_estado_robo == ESTADO_MAPEAMENTO) {
        if (marcador == MARCADOR_ESQUERDA || marcador == MARCADOR_DIREITA) {
             mapa_gravar_segmento();
            if (marcador == MARCADOR_DIREITA) {
            	iu_buzina_temporizada(100);
            	g_fim_mapeamento++;
            }
            if (marcador == MARCADOR_ESQUERDA) {
            	iu_buzina_temporizada(30);
            }
        } else if (marcador == MARCADOR_AMBOS) {
            //iu_buzina_temporizada(80);
        }
    }
    else if (g_estado_robo == ESTADO_CORRIDA || g_estado_robo == ESTADO_ACELERANDO_RETA) {
    	if (marcador == MARCADOR_ESQUERDA || marcador == MARCADOR_DIREITA) {
			iu_buzina_temporizada(30);
			// Antes de avançar para o próximo segmento, salve a distância atual
			g_dist_entrada_segmento_pulsos = (encoder_obter_posicao_esquerda() + encoder_obter_posicao_direita()) / 2;
			mapa_avancar_segmento();
			 // Ao avançar para um novo segmento, permite que a frenagem ocorra novamente.
			g_frenagem_realizada_no_segmento = false;

			if (marcador == MARCADOR_DIREITA) {
				iu_buzina_temporizada(100);
				g_fim_corrida++;
			}

			// Transição para o próximo estado correto
			if (mapa_segmento_atual_e_reta_longa()) {
				g_estado_robo = ESTADO_ACELERANDO_RETA;
			} else {
				g_estado_robo = ESTADO_CORRIDA;
			}

			// A verificação de fim de corrida é feita aqui mesmo
            if (mapa_corrida_terminou(g_fim_corrida)) {
            	motor_parar(true); // Para os motores ao cruzar a linha final
                g_estado_robo = ESTADO_FINALIZADO;
            }

        } else if (marcador == MARCADOR_AMBOS) {
            //iu_buzina_temporizada(100);
        }
    }
}

void HAL_TIM_PeriodElapsedCallback(TIM_HandleTypeDef *htim)
{
	if (htim->Instance == TIM6) {
		// A interrupção agora acontece a cada 1ms

		// 1. Aciona o loop rápido toda vez
		g_flag_loop_1ms = true;

		// 2. Decrementa o timer de frenagem se ele estiver ativo
		   if (g_contador_frenagem_ms > 0) {
			   g_contador_frenagem_ms--;
		   }

		/*3. O timer para lógica de reconhecimento de linha perdida
		   no arquivo sensor_linha.c*/
		   sensor_linha_tick_1ms(); // Chama a função de tick do módulo do sensor

		   // 4. --- NOVA LÓGICA --- Aciona o loop da MPU a cada 4ms
		   g_contador_loop_mpu++;
		   if (g_contador_loop_mpu >= 4) {
			   g_flag_loop_4ms = true;
			   g_contador_loop_mpu = 0;
		   }

		// 5. Usa um contador para acionar o loop lento a cada 10ms
		g_contador_loop_lento++;
		if (g_contador_loop_lento >= 10) {
		  g_flag_loop_10ms = true;
		  g_contador_loop_lento = 0;
		}
	  }
}

/* USER CODE END 4 */

void Error_Handler(void)
{
  __disable_irq();
  while (1)
  {
  }
}
